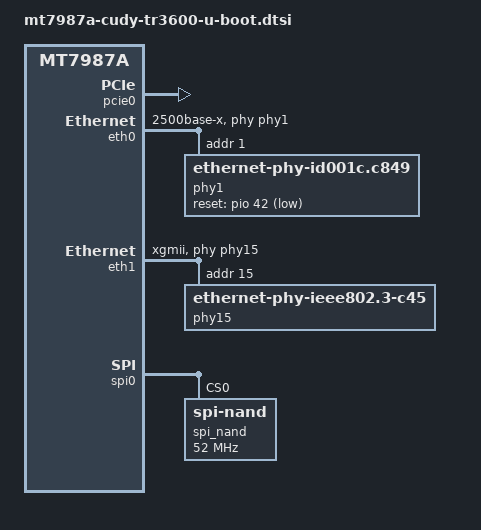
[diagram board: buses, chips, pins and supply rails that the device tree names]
// SPDX-License-Identifier: GPL-2.0-or-later

#include "mt7987a-u-boot.dtsi"
#include "mt7987-netsys-u-boot.dtsi"

/ {
	config {
		bootcmd = "mtkboardboot";
		blink_led = "oem:green:blue";
		system_led = "oem:green:red";
		reset_led = "oem:green:blue";
	};

	bl2_verify {
		bl2_compatible = "spim-nand";
	};
};

&cpu2 {
	status = "disabled";
};

&cpu3 {
	status = "disabled";
};

&pcie0 {
	status = "okay";
};

&pcie1 {
	status = "disabled";
};

&eth0 {
	status = "okay";
	pinctrl-names = "default";
	pinctrl-0 = <&mdio0_pins>;
	phy-mode = "2500base-x";
	phy-handle = <&phy1>;

	phy1: ethernet-phy@1 {
		compatible = "ethernet-phy-id001c.c849";
		reg = <1>;
		phy-mode = "2500base-x";
		reset-gpios = <&pio 42 GPIO_ACTIVE_LOW>;
		reset-assert-us = <100000>;
		reset-deassert-us = <120000>;
	};
};

&eth1 {
	status = "okay";
	pinctrl-names = "i2p5gbe-led";
	pinctrl-0 = <&i2p5gbe_led0_pins>;
	phy-mode = "xgmii";
	phy-handle = <&phy15>;

	phy15: ethernet-phy@15 {
		compatible = "ethernet-phy-ieee802.3-c45";
		reg = <15>;
		phy-mode = "xgmii";
	};
};

&eth2 {
	status = "disabled";
};

&spi0 {
	pinctrl-names = "default";
	pinctrl-0 = <&spi0_flash_pins>;
	#address-cells = <1>;
	#size-cells = <0>;
	status = "okay";
	must_tx;
	enhance_timing;
	dma_ext;
	ipm_design;
	support_quad;
	tick_dly = <2>;
	sample_sel = <0>;

	/delete-node/ flash@0;

	spi_nand@0 {
		compatible = "spi-nand";
		reg = <0>;
		spi-max-frequency = <52000000>;
		spi-rx-bus-width = <4>;
		spi-tx-bus-width = <4>;
	};
};

&spi2 {
	status = "disabled";
};
